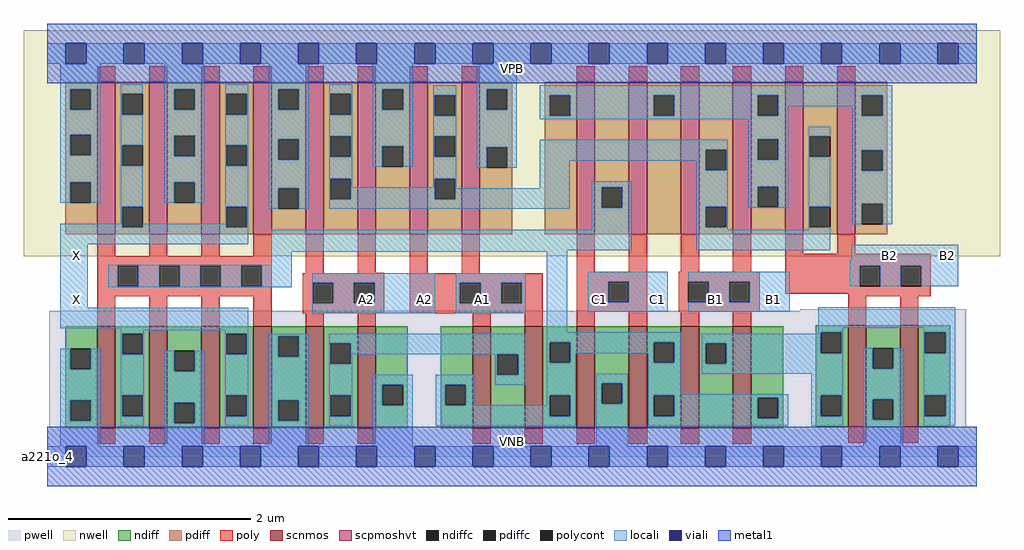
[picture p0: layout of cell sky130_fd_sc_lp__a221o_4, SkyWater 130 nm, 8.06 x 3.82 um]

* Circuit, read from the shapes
.subckt sky130_fd_sc_lp__a221o_4 A1 A2 B1 B2 C1 VGND VNB VPB VPWR X
XM1 X n1 VGND VNB sky130_fd_pr__nfet_01v8 w=0.84 l=0.15 m=4
XM2 n2 A2 VGND VNB sky130_fd_pr__nfet_01v8 w=0.84 l=0.15 m=2
XM3 n2 A1 n1 VNB sky130_fd_pr__nfet_01v8 w=0.84 l=0.15 m=2
XM4 VGND C1 n1 VNB sky130_fd_pr__nfet_01v8 w=0.84 l=0.15 m=2
XM5 n3 B1 n1 VNB sky130_fd_pr__nfet_01v8 w=0.84 l=0.15 m=2
XM6 VGND B2 n3 VNB sky130_fd_pr__nfet_01v8 w=0.84 l=0.15 m=2
XM7 X n1 VPWR VPB sky130_fd_pr__pfet_01v8_hvt w=1.26 l=0.15 m=4
XM8 n4 A2 VPWR VPB sky130_fd_pr__pfet_01v8_hvt w=1.26 l=0.15 m=2
XM9 n4 A1 VPWR VPB sky130_fd_pr__pfet_01v8_hvt w=1.26 l=0.15 m=2
XM10 n1 C1 n5 VPB sky130_fd_pr__pfet_01v8_hvt w=1.26 l=0.15 m=2
XM11 n4 B1 n5 VPB sky130_fd_pr__pfet_01v8_hvt w=1.26 l=0.15 m=2
XM12 n4 B2 n5 VPB sky130_fd_pr__pfet_01v8_hvt w=1.26 l=0.15 m=2
.ends

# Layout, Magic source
magic
tech sky130A
magscale 1 2
<< nwell >>
rect -38 331 1574 704
<< pwell >>
rect 1244 241 1518 243
rect 4 49 1518 241
rect 0 0 1536 49
<< scnmos >>
rect 83 47 113 215
rect 169 47 199 215
rect 255 47 285 215
rect 341 47 371 215
rect 427 47 457 215
rect 513 47 543 215
rect 703 47 733 215
rect 789 47 819 215
rect 875 47 905 215
rect 961 47 991 215
rect 1047 47 1077 215
rect 1133 47 1163 215
rect 1323 49 1353 217
rect 1409 49 1439 217
<< scpmoshvt >>
rect 83 367 113 619
rect 169 367 199 619
rect 255 367 285 619
rect 341 367 371 619
rect 427 367 457 619
rect 513 367 543 619
rect 599 367 629 619
rect 685 367 715 619
rect 875 367 905 619
rect 961 367 991 619
rect 1047 367 1077 619
rect 1133 367 1163 619
rect 1219 367 1249 619
rect 1305 367 1335 619
<< ndiff >>
rect 30 178 83 215
rect 30 144 38 178
rect 72 144 83 178
rect 30 93 83 144
rect 30 59 38 93
rect 72 59 83 93
rect 30 47 83 59
rect 113 203 169 215
rect 113 169 124 203
rect 158 169 169 203
rect 113 101 169 169
rect 113 67 124 101
rect 158 67 169 101
rect 113 47 169 67
rect 199 175 255 215
rect 199 141 210 175
rect 244 141 255 175
rect 199 89 255 141
rect 199 55 210 89
rect 244 55 255 89
rect 199 47 255 55
rect 285 203 341 215
rect 285 169 296 203
rect 330 169 341 203
rect 285 101 341 169
rect 285 67 296 101
rect 330 67 341 101
rect 285 47 341 67
rect 371 199 427 215
rect 371 165 382 199
rect 416 165 427 199
rect 371 93 427 165
rect 371 59 382 93
rect 416 59 427 93
rect 371 47 427 59
rect 457 187 513 215
rect 457 153 468 187
rect 502 153 513 187
rect 457 101 513 153
rect 457 67 468 101
rect 502 67 513 101
rect 457 47 513 67
rect 543 119 596 215
rect 543 85 554 119
rect 588 85 596 119
rect 543 47 596 85
rect 650 119 703 215
rect 650 85 658 119
rect 692 85 703 119
rect 650 47 703 85
rect 733 169 789 215
rect 733 135 744 169
rect 778 135 789 169
rect 733 47 789 135
rect 819 189 875 215
rect 819 155 830 189
rect 864 155 875 189
rect 819 101 875 155
rect 819 67 830 101
rect 864 67 875 101
rect 819 47 875 67
rect 905 121 961 215
rect 905 87 916 121
rect 950 87 961 121
rect 905 47 961 87
rect 991 189 1047 215
rect 991 155 1002 189
rect 1036 155 1047 189
rect 991 101 1047 155
rect 991 67 1002 101
rect 1036 67 1047 101
rect 991 47 1047 67
rect 1077 187 1133 215
rect 1077 153 1088 187
rect 1122 153 1133 187
rect 1077 47 1133 153
rect 1163 97 1216 215
rect 1163 63 1174 97
rect 1208 63 1216 97
rect 1163 47 1216 63
rect 1270 205 1323 217
rect 1270 171 1278 205
rect 1312 171 1323 205
rect 1270 101 1323 171
rect 1270 67 1278 101
rect 1312 67 1323 101
rect 1270 49 1323 67
rect 1353 179 1409 217
rect 1353 145 1364 179
rect 1398 145 1409 179
rect 1353 95 1409 145
rect 1353 61 1364 95
rect 1398 61 1409 95
rect 1353 49 1409 61
rect 1439 205 1492 217
rect 1439 171 1450 205
rect 1484 171 1492 205
rect 1439 101 1492 171
rect 1439 67 1450 101
rect 1484 67 1492 101
rect 1439 49 1492 67
<< pdiff >>
rect 30 607 83 619
rect 30 573 38 607
rect 72 573 83 607
rect 30 532 83 573
rect 30 498 38 532
rect 72 498 83 532
rect 30 453 83 498
rect 30 419 38 453
rect 72 419 83 453
rect 30 367 83 419
rect 113 599 169 619
rect 113 565 124 599
rect 158 565 169 599
rect 113 514 169 565
rect 113 480 124 514
rect 158 480 169 514
rect 113 413 169 480
rect 113 379 124 413
rect 158 379 169 413
rect 113 367 169 379
rect 199 607 255 619
rect 199 573 210 607
rect 244 573 255 607
rect 199 530 255 573
rect 199 496 210 530
rect 244 496 255 530
rect 199 453 255 496
rect 199 419 210 453
rect 244 419 255 453
rect 199 367 255 419
rect 285 599 341 619
rect 285 565 296 599
rect 330 565 341 599
rect 285 514 341 565
rect 285 480 296 514
rect 330 480 341 514
rect 285 413 341 480
rect 285 379 296 413
rect 330 379 341 413
rect 285 367 341 379
rect 371 607 427 619
rect 371 573 382 607
rect 416 573 427 607
rect 371 524 427 573
rect 371 490 382 524
rect 416 490 427 524
rect 371 443 427 490
rect 371 409 382 443
rect 416 409 427 443
rect 371 367 427 409
rect 457 599 513 619
rect 457 565 468 599
rect 502 565 513 599
rect 457 529 513 565
rect 457 495 468 529
rect 502 495 513 529
rect 457 459 513 495
rect 457 425 468 459
rect 502 425 513 459
rect 457 367 513 425
rect 543 607 599 619
rect 543 573 554 607
rect 588 573 599 607
rect 543 513 599 573
rect 543 479 554 513
rect 588 479 599 513
rect 543 367 599 479
rect 629 597 685 619
rect 629 563 640 597
rect 674 563 685 597
rect 629 529 685 563
rect 629 495 640 529
rect 674 495 685 529
rect 629 459 685 495
rect 629 425 640 459
rect 674 425 685 459
rect 629 367 685 425
rect 715 607 768 619
rect 715 573 726 607
rect 760 573 768 607
rect 715 511 768 573
rect 715 477 726 511
rect 760 477 768 511
rect 715 367 768 477
rect 822 597 875 619
rect 822 563 830 597
rect 864 563 875 597
rect 822 367 875 563
rect 905 445 961 619
rect 905 411 916 445
rect 950 411 961 445
rect 905 367 961 411
rect 991 597 1047 619
rect 991 563 1002 597
rect 1036 563 1047 597
rect 991 367 1047 563
rect 1077 507 1133 619
rect 1077 473 1088 507
rect 1122 473 1133 507
rect 1077 413 1133 473
rect 1077 379 1088 413
rect 1122 379 1133 413
rect 1077 367 1133 379
rect 1163 597 1219 619
rect 1163 563 1174 597
rect 1208 563 1219 597
rect 1163 524 1219 563
rect 1163 490 1174 524
rect 1208 490 1219 524
rect 1163 446 1219 490
rect 1163 412 1174 446
rect 1208 412 1219 446
rect 1163 367 1219 412
rect 1249 529 1305 619
rect 1249 495 1260 529
rect 1294 495 1305 529
rect 1249 413 1305 495
rect 1249 379 1260 413
rect 1294 379 1305 413
rect 1249 367 1305 379
rect 1335 597 1388 619
rect 1335 563 1346 597
rect 1380 563 1388 597
rect 1335 506 1388 563
rect 1335 472 1346 506
rect 1380 472 1388 506
rect 1335 418 1388 472
rect 1335 384 1346 418
rect 1380 384 1388 418
rect 1335 367 1388 384
<< ndiffc >>
rect 38 144 72 178
rect 38 59 72 93
rect 124 169 158 203
rect 124 67 158 101
rect 210 141 244 175
rect 210 55 244 89
rect 296 169 330 203
rect 296 67 330 101
rect 382 165 416 199
rect 382 59 416 93
rect 468 153 502 187
rect 468 67 502 101
rect 554 85 588 119
rect 658 85 692 119
rect 744 135 778 169
rect 830 155 864 189
rect 830 67 864 101
rect 916 87 950 121
rect 1002 155 1036 189
rect 1002 67 1036 101
rect 1088 153 1122 187
rect 1174 63 1208 97
rect 1278 171 1312 205
rect 1278 67 1312 101
rect 1364 145 1398 179
rect 1364 61 1398 95
rect 1450 171 1484 205
rect 1450 67 1484 101
<< pdiffc >>
rect 38 573 72 607
rect 38 498 72 532
rect 38 419 72 453
rect 124 565 158 599
rect 124 480 158 514
rect 124 379 158 413
rect 210 573 244 607
rect 210 496 244 530
rect 210 419 244 453
rect 296 565 330 599
rect 296 480 330 514
rect 296 379 330 413
rect 382 573 416 607
rect 382 490 416 524
rect 382 409 416 443
rect 468 565 502 599
rect 468 495 502 529
rect 468 425 502 459
rect 554 573 588 607
rect 554 479 588 513
rect 640 563 674 597
rect 640 495 674 529
rect 640 425 674 459
rect 726 573 760 607
rect 726 477 760 511
rect 830 563 864 597
rect 916 411 950 445
rect 1002 563 1036 597
rect 1088 473 1122 507
rect 1088 379 1122 413
rect 1174 563 1208 597
rect 1174 490 1208 524
rect 1174 412 1208 446
rect 1260 495 1294 529
rect 1260 379 1294 413
rect 1346 563 1380 597
rect 1346 472 1380 506
rect 1346 384 1380 418
<< poly >>
rect 83 619 113 645
rect 169 619 199 645
rect 255 619 285 645
rect 341 619 371 645
rect 427 619 457 645
rect 513 619 543 645
rect 599 619 629 645
rect 685 619 715 645
rect 875 619 905 645
rect 961 619 991 645
rect 1047 619 1077 645
rect 1133 619 1163 645
rect 1219 619 1249 645
rect 1305 619 1335 645
rect 83 331 113 367
rect 169 331 199 367
rect 255 331 285 367
rect 341 331 371 367
rect 83 315 371 331
rect 83 281 117 315
rect 151 281 185 315
rect 219 281 253 315
rect 287 281 321 315
rect 355 281 371 315
rect 427 303 457 367
rect 513 304 543 367
rect 513 303 557 304
rect 83 265 371 281
rect 83 215 113 265
rect 169 215 199 265
rect 255 215 285 265
rect 341 215 371 265
rect 422 287 557 303
rect 422 253 439 287
rect 473 253 507 287
rect 541 253 557 287
rect 422 237 557 253
rect 599 303 629 367
rect 685 303 715 367
rect 875 305 905 367
rect 961 305 991 367
rect 1047 305 1077 367
rect 1133 305 1163 367
rect 1219 335 1249 367
rect 1305 335 1335 367
rect 1219 315 1460 335
rect 599 287 819 303
rect 599 253 682 287
rect 716 253 750 287
rect 784 253 819 287
rect 599 237 819 253
rect 427 215 457 237
rect 513 215 543 237
rect 703 215 733 237
rect 789 215 819 237
rect 875 289 991 305
rect 875 255 927 289
rect 961 255 991 289
rect 875 239 991 255
rect 1043 289 1177 305
rect 1043 255 1059 289
rect 1093 255 1127 289
rect 1161 255 1177 289
rect 1219 281 1342 315
rect 1376 281 1410 315
rect 1444 281 1460 315
rect 1219 269 1460 281
rect 1043 239 1177 255
rect 1323 265 1460 269
rect 875 215 905 239
rect 961 215 991 239
rect 1047 215 1077 239
rect 1133 215 1163 239
rect 1323 217 1353 265
rect 1409 217 1439 265
rect 83 21 113 47
rect 169 21 199 47
rect 255 21 285 47
rect 341 21 371 47
rect 427 21 457 47
rect 513 21 543 47
rect 703 21 733 47
rect 789 21 819 47
rect 875 21 905 47
rect 961 21 991 47
rect 1047 21 1077 47
rect 1133 21 1163 47
rect 1323 23 1353 49
rect 1409 23 1439 49
<< polycont >>
rect 117 281 151 315
rect 185 281 219 315
rect 253 281 287 315
rect 321 281 355 315
rect 439 253 473 287
rect 507 253 541 287
rect 682 253 716 287
rect 750 253 784 287
rect 927 255 961 289
rect 1059 255 1093 289
rect 1127 255 1161 289
rect 1342 281 1376 315
rect 1410 281 1444 315
<< locali >>
rect 0 649 31 683
rect 65 649 127 683
rect 161 649 223 683
rect 257 649 319 683
rect 353 649 415 683
rect 449 649 511 683
rect 545 649 607 683
rect 641 649 703 683
rect 737 649 799 683
rect 833 649 895 683
rect 929 649 991 683
rect 1025 649 1087 683
rect 1121 649 1183 683
rect 1217 649 1279 683
rect 1313 649 1375 683
rect 1409 649 1471 683
rect 1505 649 1536 683
rect 22 607 88 649
rect 22 573 38 607
rect 72 573 88 607
rect 22 532 88 573
rect 22 498 38 532
rect 72 498 88 532
rect 22 453 88 498
rect 22 419 38 453
rect 72 419 88 453
rect 122 599 158 615
rect 122 565 124 599
rect 122 514 158 565
rect 122 480 124 514
rect 122 413 158 480
rect 194 607 260 649
rect 194 573 210 607
rect 244 573 260 607
rect 194 530 260 573
rect 194 496 210 530
rect 244 496 260 530
rect 194 453 260 496
rect 194 419 210 453
rect 244 419 260 453
rect 294 599 332 615
rect 294 565 296 599
rect 330 565 332 599
rect 294 514 332 565
rect 294 480 296 514
rect 330 480 332 514
rect 122 385 124 413
rect 22 379 124 385
rect 294 413 332 480
rect 294 385 296 413
rect 158 379 296 385
rect 330 379 332 413
rect 366 607 432 649
rect 366 573 382 607
rect 416 573 432 607
rect 366 524 432 573
rect 366 490 382 524
rect 416 490 432 524
rect 366 443 432 490
rect 366 409 382 443
rect 416 409 432 443
rect 466 599 504 615
rect 466 565 468 599
rect 502 565 504 599
rect 466 529 504 565
rect 466 495 468 529
rect 502 495 504 529
rect 466 459 504 495
rect 538 607 604 649
rect 538 573 554 607
rect 588 573 604 607
rect 538 513 604 573
rect 538 479 554 513
rect 588 479 604 513
rect 638 597 676 613
rect 638 563 640 597
rect 674 563 676 597
rect 638 529 676 563
rect 638 495 640 529
rect 674 495 676 529
rect 466 425 468 459
rect 502 445 504 459
rect 638 459 676 495
rect 710 607 776 649
rect 710 573 726 607
rect 760 573 776 607
rect 710 511 776 573
rect 814 597 1396 613
rect 814 563 830 597
rect 864 563 1002 597
rect 1036 563 1174 597
rect 1208 579 1346 597
rect 1208 563 1224 579
rect 814 557 1224 563
rect 1158 524 1224 557
rect 1330 563 1346 579
rect 1380 563 1396 597
rect 710 477 726 511
rect 760 477 776 511
rect 814 507 1124 523
rect 814 489 1088 507
rect 638 445 640 459
rect 502 425 640 445
rect 674 443 676 459
rect 814 443 863 489
rect 1072 473 1088 489
rect 1122 473 1124 507
rect 674 425 863 443
rect 466 409 863 425
rect 900 445 966 455
rect 900 411 916 445
rect 950 411 966 445
rect 22 351 332 379
rect 900 375 966 411
rect 22 246 67 351
rect 370 341 966 375
rect 1072 413 1124 473
rect 1072 379 1088 413
rect 1122 379 1124 413
rect 1158 490 1174 524
rect 1208 490 1224 524
rect 1158 446 1224 490
rect 1158 412 1174 446
rect 1208 412 1224 446
rect 1158 411 1224 412
rect 1258 529 1294 545
rect 1258 495 1260 529
rect 1258 413 1294 495
rect 1072 375 1124 379
rect 1258 379 1260 413
rect 1330 506 1396 563
rect 1330 472 1346 506
rect 1380 472 1396 506
rect 1330 418 1396 472
rect 1330 384 1346 418
rect 1380 384 1396 418
rect 1258 375 1294 379
rect 1072 341 1294 375
rect 370 338 859 341
rect 370 317 404 338
rect 101 315 404 317
rect 101 281 117 315
rect 151 281 185 315
rect 219 281 253 315
rect 287 281 321 315
rect 355 281 404 315
rect 101 280 404 281
rect 438 287 641 303
rect 438 253 439 287
rect 473 253 507 287
rect 541 253 641 287
rect 22 212 332 246
rect 438 237 641 253
rect 675 287 791 303
rect 675 253 682 287
rect 716 253 750 287
rect 784 253 791 287
rect 675 237 791 253
rect 122 209 332 212
rect 122 203 160 209
rect 22 144 38 178
rect 72 144 88 178
rect 22 93 88 144
rect 22 59 38 93
rect 72 59 88 93
rect 22 17 88 59
rect 122 169 124 203
rect 158 169 160 203
rect 294 203 332 209
rect 825 205 859 338
rect 1328 324 1505 350
rect 1326 315 1505 324
rect 893 289 1025 305
rect 893 255 927 289
rect 961 255 1025 289
rect 893 239 1025 255
rect 1059 289 1227 305
rect 1093 255 1127 289
rect 1161 255 1227 289
rect 1326 281 1342 315
rect 1376 281 1410 315
rect 1444 281 1505 315
rect 1059 239 1227 255
rect 1274 213 1500 247
rect 1274 205 1314 213
rect 122 101 160 169
rect 122 67 124 101
rect 158 67 160 101
rect 122 51 160 67
rect 194 141 210 175
rect 244 141 260 175
rect 194 89 260 141
rect 194 55 210 89
rect 244 55 260 89
rect 194 17 260 55
rect 294 169 296 203
rect 330 169 332 203
rect 294 101 332 169
rect 294 67 296 101
rect 330 67 332 101
rect 294 51 332 67
rect 366 199 432 203
rect 366 165 382 199
rect 416 165 432 199
rect 366 93 432 165
rect 366 59 382 93
rect 416 59 432 93
rect 366 17 432 59
rect 466 187 791 203
rect 466 153 468 187
rect 502 169 791 187
rect 502 153 504 169
rect 466 101 504 153
rect 740 135 744 169
rect 778 135 791 169
rect 466 67 468 101
rect 502 67 504 101
rect 466 51 504 67
rect 538 119 604 135
rect 538 85 554 119
rect 588 85 604 119
rect 538 17 604 85
rect 642 119 706 135
rect 740 119 791 135
rect 825 189 1047 205
rect 1274 203 1278 205
rect 825 155 830 189
rect 864 171 1002 189
rect 864 155 873 171
rect 642 85 658 119
rect 692 85 706 119
rect 825 101 873 155
rect 993 155 1002 171
rect 1036 155 1047 189
rect 825 85 830 101
rect 642 67 830 85
rect 864 67 873 101
rect 642 51 873 67
rect 907 121 959 137
rect 907 87 916 121
rect 950 87 959 121
rect 907 17 959 87
rect 993 103 1047 155
rect 1081 187 1278 203
rect 1081 153 1088 187
rect 1122 171 1278 187
rect 1312 171 1314 205
rect 1448 205 1500 213
rect 1122 153 1314 171
rect 1081 137 1314 153
rect 993 101 1224 103
rect 993 67 1002 101
rect 1036 97 1224 101
rect 1036 67 1174 97
rect 993 63 1174 67
rect 1208 63 1224 97
rect 993 51 1224 63
rect 1262 101 1314 137
rect 1262 67 1278 101
rect 1312 67 1314 101
rect 1262 51 1314 67
rect 1348 145 1364 179
rect 1398 145 1414 179
rect 1348 95 1414 145
rect 1348 61 1364 95
rect 1398 61 1414 95
rect 1348 17 1414 61
rect 1448 171 1450 205
rect 1484 171 1500 205
rect 1448 101 1500 171
rect 1448 67 1450 101
rect 1484 67 1500 101
rect 1448 51 1500 67
rect 0 -17 31 17
rect 65 -17 127 17
rect 161 -17 223 17
rect 257 -17 319 17
rect 353 -17 415 17
rect 449 -17 511 17
rect 545 -17 607 17
rect 641 -17 703 17
rect 737 -17 799 17
rect 833 -17 895 17
rect 929 -17 991 17
rect 1025 -17 1087 17
rect 1121 -17 1183 17
rect 1217 -17 1279 17
rect 1313 -17 1375 17
rect 1409 -17 1471 17
rect 1505 -17 1536 17
<< viali >>
rect 31 649 65 683
rect 127 649 161 683
rect 223 649 257 683
rect 319 649 353 683
rect 415 649 449 683
rect 511 649 545 683
rect 607 649 641 683
rect 703 649 737 683
rect 799 649 833 683
rect 895 649 929 683
rect 991 649 1025 683
rect 1087 649 1121 683
rect 1183 649 1217 683
rect 1279 649 1313 683
rect 1375 649 1409 683
rect 1471 649 1505 683
rect 31 -17 65 17
rect 127 -17 161 17
rect 223 -17 257 17
rect 319 -17 353 17
rect 415 -17 449 17
rect 511 -17 545 17
rect 607 -17 641 17
rect 703 -17 737 17
rect 799 -17 833 17
rect 895 -17 929 17
rect 991 -17 1025 17
rect 1087 -17 1121 17
rect 1183 -17 1217 17
rect 1279 -17 1313 17
rect 1375 -17 1409 17
rect 1471 -17 1505 17
<< metal1 >>
rect 0 683 1536 715
rect 0 649 31 683
rect 65 649 127 683
rect 161 649 223 683
rect 257 649 319 683
rect 353 649 415 683
rect 449 649 511 683
rect 545 649 607 683
rect 641 649 703 683
rect 737 649 799 683
rect 833 649 895 683
rect 929 649 991 683
rect 1025 649 1087 683
rect 1121 649 1183 683
rect 1217 649 1279 683
rect 1313 649 1375 683
rect 1409 649 1471 683
rect 1505 649 1536 683
rect 0 617 1536 649
rect 0 17 1536 49
rect 0 -17 31 17
rect 65 -17 127 17
rect 161 -17 223 17
rect 257 -17 319 17
rect 353 -17 415 17
rect 449 -17 511 17
rect 545 -17 607 17
rect 641 -17 703 17
rect 737 -17 799 17
rect 833 -17 895 17
rect 929 -17 991 17
rect 1025 -17 1087 17
rect 1121 -17 1183 17
rect 1217 -17 1279 17
rect 1313 -17 1375 17
rect 1409 -17 1471 17
rect 1505 -17 1536 17
rect 0 -49 1536 -17
<< labels >>
flabel pwell s 0 0 1536 49 0 FreeSans 200 0 0 0 VNB
port 7 nsew ground bidirectional
flabel nwell s 0 617 1536 666 0 FreeSans 200 0 0 0 VPB
port 8 nsew power bidirectional
rlabel comment s 0 0 0 0 4 a221o_4
flabel metal1 s 0 617 1536 666 0 FreeSans 340 0 0 0 VPWR
port 9 nsew power bidirectional
flabel metal1 s 0 0 1536 49 0 FreeSans 340 0 0 0 VGND
port 6 nsew ground bidirectional
flabel locali s 703 242 737 276 0 FreeSans 340 0 0 0 A1
port 1 nsew signal input
flabel locali s 511 242 545 276 0 FreeSans 340 0 0 0 A2
port 2 nsew signal input
flabel locali s 607 242 641 276 0 FreeSans 340 0 0 0 A2
port 2 nsew signal input
flabel locali s 1087 242 1121 276 0 FreeSans 340 0 0 0 B1
port 3 nsew signal input
flabel locali s 1183 242 1217 276 0 FreeSans 340 0 0 0 B1
port 3 nsew signal input
flabel locali s 1375 316 1409 350 0 FreeSans 340 0 0 0 B2
port 4 nsew signal input
flabel locali s 1471 316 1505 350 0 FreeSans 340 0 0 0 B2
port 4 nsew signal input
flabel locali s 895 242 929 276 0 FreeSans 340 0 0 0 C1
port 5 nsew signal input
flabel locali s 991 242 1025 276 0 FreeSans 340 0 0 0 C1
port 5 nsew signal input
flabel locali s 31 242 65 276 0 FreeSans 340 0 0 0 X
port 10 nsew signal output
flabel locali s 31 316 65 350 0 FreeSans 340 0 0 0 X
port 10 nsew signal output
<< properties >>
string LEFsite unit
string LEFclass CORE
string FIXED_BBOX 0 0 1536 666
string GDS_FILE $PDKPATH/libs.ref/sky130_fd_sc_lp/gds/sky130_fd_sc_lp.gds
string LEFsymmetry X Y R90
string GDS_END 6134220
string GDS_START 6121252
<< end >>
